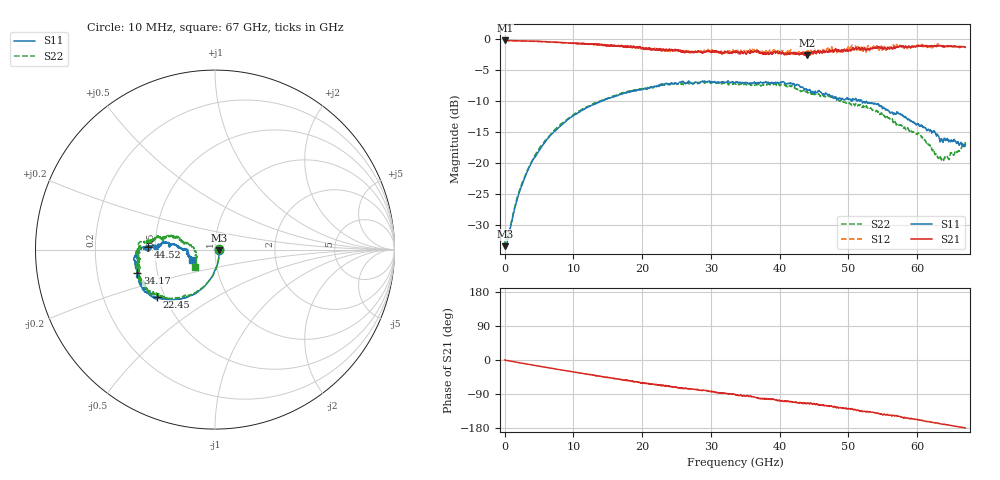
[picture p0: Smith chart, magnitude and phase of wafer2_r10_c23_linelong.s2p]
!Keysight Technologies,N5227A,US51270248,A.10.65.08
!Date: Tuesday, June 11, 2024 06:30:20
!Correction: S11(Full 2 Port(1,4))
!S41(Full 2 Port(1,4))
!S14(Full 2 Port(1,4))
!S44(Full 2 Port(1,4))
!S2P File: Measurements: S11, S41, S14, S44:
# Hz S  dB  R 50
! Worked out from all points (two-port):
!   3201 points, 10 MHz to 67 GHz, reference 50 ohm
!   highest |S21| = -0.19 dB at 30.93 MHz (marker M1); lowest = -2.6 dB at 43.95 GHz (marker M2)
!   |S21| within 3 dB of the highest: start of sweep to end of sweep
!   lowest |S11| = -33.4 dB at 51.87 MHz (marker M3), VSWR 1.04, Z = 52.2 - j0.162 ohm
!   |S11| at or under -10 dB: start of sweep to 14.03 GHz; 51.96 GHz to 52.58 GHz (615.5 MHz wide, 1.18 % of centre); 52.61 GHz to end of sweep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
!   |S22| runs from -33.1 to -6.8 dB; largest |S21 - S12| = 0.083
!   S11 on the Smith chart (normalised r, x): 10 MHz: 1.04, -0.00; 22.45 GHz: 0.45, -0.29; 34.17 GHz: 0.39, -0.13; 44.52 GHz: 0.46, +0.02; 67 GHz: 0.77, -0.09
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1e7  -33.32 -0.3  -0.19 -0.1  -0.19 -0.1  -33.07 2.0
3.093438e7  -33.35 -2.4  -0.19 -0.1  -0.20 -0.1  -32.68 -2.4
5.186875e7  -33.36 -4.1  -0.19 -0.2  -0.20 -0.2  -32.88 -4.4
2.208109e9  -24.51 -72.0  -0.25 -7.4  -0.25 -7.4  -24.19 -71.8
4.113138e9  -19.50 -86.7  -0.32 -13.4  -0.32 -13.4  -19.32 -88.0
7.483572e9  -14.63 -102.1  -0.46 -23.9  -0.49 -24.0  -14.37 -103.3
1.118896e10  -11.52 -114.0  -0.65 -34.8  -0.74 -34.9  -11.33 -115.9
1.717619e10  -8.77 -129.7  -1.15 -53.0  -1.17 -52.3  -8.64 -132.6
2.234698e10  -7.48 -140.1  -1.65 -65.3  -1.55 -65.1  -7.59 -145.2
2.245165e10  -7.59 -141.1  -1.71 -65.1  -1.49 -65.5  -7.59 -144.9
3.3505e10  -7.00 -161.8  -1.97 -90.9  -2.11 -90.7  -7.17 -168.2
3.41749e10  -6.91 -163.3  -2.27 -93.3  -2.24 -90.4  -7.30 -169.1
4.395125e10  -8.18 177.9  -2.56 -114.6  -1.95 -114.3  -8.45 172.6
4.451648e10  -8.56 177.8  -2.30 -113.8  -1.78 -115.4  -8.78 171.9
4.468396e10  -8.45 178.7  -2.16 -115.7  -1.96 -118.1  -8.76 172.4
4.786598e10  -9.46 177.7  -2.00 -122.9  -2.04 -124.8  -9.37 169.6
4.947793e10  -9.72 179.7  -1.77 -128.3  -1.67 -127.6  -10.15 167.6
5.077586e10  -9.72 178.5  -1.64 -131.0  -1.67 -130.9  -10.43 167.8
5.584198e10  -11.52 171.4  -1.36 -145.7  -1.48 -145.1  -12.73 162.4
6.03638e10  -14.01 176.2  -1.12 -158.1  -1.07 -158.7  -15.30 167.3
6.36505e10  -16.37 -175.6  -1.17 -169.4  -1.14 -170.2  -19.32 -171.7
6.7e10  -17.05 -156.8  -1.27 -179.5  -1.34 -178.7  -16.55 -139.9
